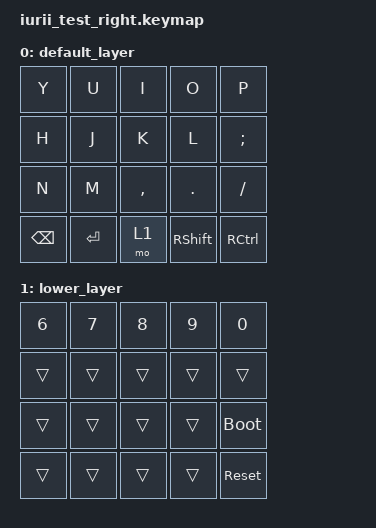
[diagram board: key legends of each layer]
#include <behaviors.dtsi>
#include <dt-bindings/zmk/keys.h>
#include <dt-bindings/zmk/bt.h>
#include <dt-bindings/zmk/reset.h>

/ {
    keymap {
        compatible = "zmk,keymap";

        default_layer {
            bindings = <
                &kp Y  &kp U  &kp I  &kp O  &kp P
                &kp H  &kp J  &kp K  &kp L  &kp SEMI
                &kp N  &kp M  &kp COMMA &kp DOT &kp FSLH
                &kp BSPC &kp ENTER &mo 1 &kp RSHFT &kp RCTRL
            >;
        };

        lower_layer {
            bindings = <
                &kp N6 &kp N7 &kp N8 &kp N9 &kp N0
                &trans &trans &trans &trans &trans
                &trans &trans &trans &trans &bootloader
                &trans &trans &trans &trans &sys_reset
            >;
        };
    };
};
